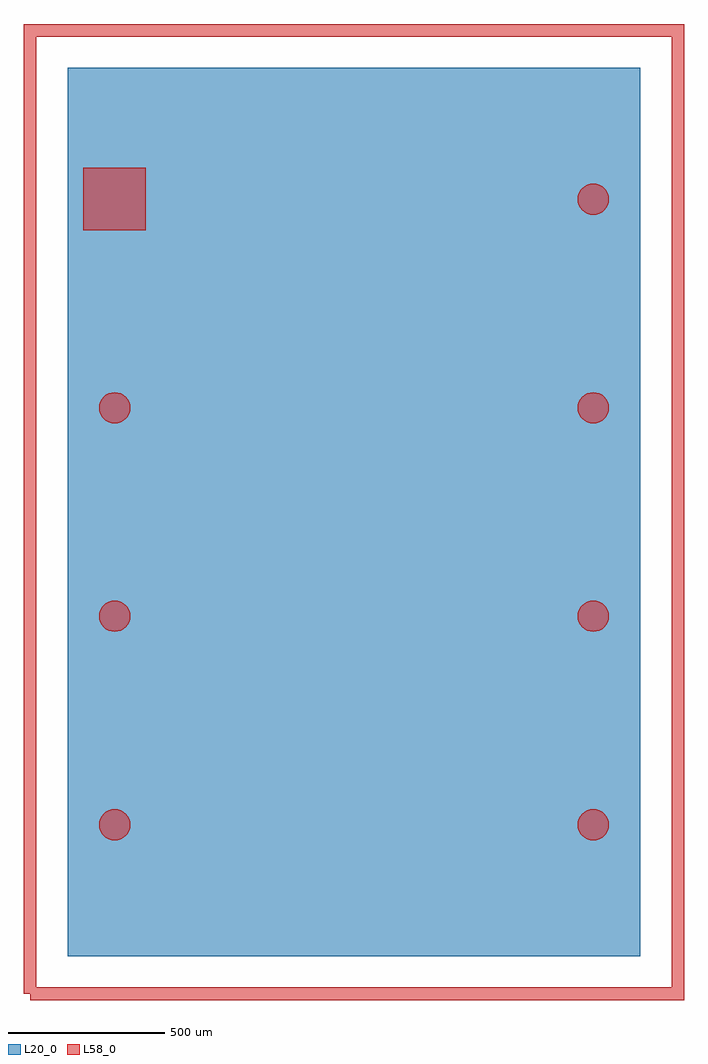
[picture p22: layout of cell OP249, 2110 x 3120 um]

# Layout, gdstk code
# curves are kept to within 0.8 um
import gdstk
lib = gdstk.Library(unit=1e-6, precision=1e-09)
def R(c, l, rs):  # rectangles x0, y0, x1, y1
    for r in rs: c.add(gdstk.rectangle(r[:2], r[2:], *l))
def P(c, l, *ps):  # polygons
    for p in ps: c.add(gdstk.Polygon(p, *l))
L20_0 = (20, 0)
L58_0 = (58, 0)

chip_pin_1 = lib.new_cell('chip_pin_1')
R(chip_pin_1, L58_0, [(-100,-100,100,100)])

chip_pin = lib.new_cell('chip_pin')
P(chip_pin, L58_0, [(50,0),(49,10),(42,28),(28,42),(10,49),(0,50),(-10,49),(-28,42),(-42,28),(-49,10),(-50,0),(-49,-10),(-42,-28),(-28,-42),(-10,-49),(0,-50),(10,-49),(28,-42),(42,-28),(49,-10)])

op249 = lib.new_cell('OP249')
R(op249, L20_0, [(-915,-1420,915,1420)])
op249.add(gdstk.FlexPath([(-1035,-1540),(1035,-1540),(1035,1540),(-1035,1540),(-1035,-1540)], 40, ends="flush", simple_path=True, layer=58, datatype=0))  # L58_0
op249.add(gdstk.Reference(chip_pin_1, (-765,1000)))
op249.add(gdstk.Reference(chip_pin, (-765,333)))
op249.add(gdstk.Reference(chip_pin, (-765,-333)))
op249.add(gdstk.Reference(chip_pin, (-765,-1000)))
op249.add(gdstk.Reference(chip_pin, (765,-1000)))
op249.add(gdstk.Reference(chip_pin, (765,-333)))
op249.add(gdstk.Reference(chip_pin, (765,333)))
op249.add(gdstk.Reference(chip_pin, (765,1000)))

lib.write_gds('OP249.gds')
